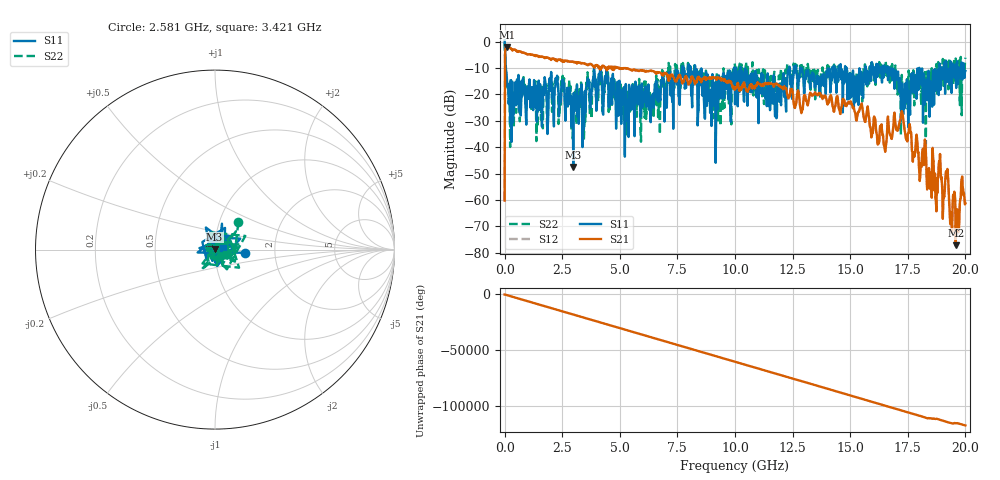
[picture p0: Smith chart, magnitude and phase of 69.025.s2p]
! Created with skrf 1.9.0 (http://scikit-rf.org).
# Hz S RI R 50.0
!freq ReS11 ImS11 ReS21 ImS21 ReS12 ImS12 ReS22 ImS22
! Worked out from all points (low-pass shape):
!   1001 points, 1 MHz to 20 GHz, reference 50 ohm
!   highest |S21| = -2.03 dB at 121 MHz (marker M1); lowest = -77.1 dB at 19.58 GHz (marker M2)
!   |S21| within 3 dB of the highest: 20.84 MHz to 1.178 GHz (1.157 GHz wide, 193 % of centre); 1.184 GHz to 1.214 GHz (29.87 MHz wide, 2.49 % of centre)
!   lowest |S11| = -47.5 dB at 2.981 GHz (marker M3), VSWR 1.01, Z = 49.8 + j0.348 ohm
!   |S11| at or under -10 dB: 56.82 MHz to 7.709 GHz (7.652 GHz wide, 197 % of centre); 8.281 GHz to 9.959 GHz (1.678 GHz wide, 18.4 % of centre); 10.24 GHz to 12.36 GHz (2.115 GHz wide, 18.7 % of centre) (the widest 3 of 43)
!   |S22| runs from -46.2 to -0.2 dB; largest |S21 - S12| = 0.021
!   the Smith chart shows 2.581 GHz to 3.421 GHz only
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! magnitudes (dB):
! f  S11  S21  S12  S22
! 1 MHz  0.4  -60.2  -60.1  -0.2
! 121 MHz  -16.7  -2.0  -2.0  -17.9
! 401 MHz  -27.4  -3.0  -3.0  -32.6
! 2.261 GHz  -15.8  -7.0  -7.0  -13.4
! 2.981 GHz  -47.5  -7.6  -7.6  -22.3
! 3.341 GHz  -16.3  -8.3  -8.3  -19.6
! 4.141 GHz  -11.0  -10.4  -10.2  -11.9
! 5.281 GHz  -21.8  -10.3  -10.3  -18.9
! 6.681 GHz  -22.9  -11.7  -11.6  -27.6
! 7.721 GHz  -9.3  -15.7  -16.0  -10.7
! 9.361 GHz  -21.3  -13.7  -13.8  -30.4
! 10 GHz  -23.7  -17.5  -18.1  -9.0
! 11.82 GHz  -21.7  -16.0  -16.1  -28.4
! 12.6 GHz  -11.6  -25.2  -24.6  -8.5
! 13.34 GHz  -14.1  -20.4  -20.0  -13.9
! 15.26 GHz  -14.5  -29.8  -29.8  -14.5
! 16.68 GHz  -9.7  -33.2  -33.3  -9.5
! 17.24 GHz  -16.8  -26.3  -26.4  -12.6
! 18.44 GHz  -28.5  -52.3  -52.1  -11.6
! 19.2 GHz  -15.3  -51.1  -50.8  -10.5
! 19.58 GHz  -12.4  -77.1  -77.5  -6.4
! 20 GHz  -11.1  -61.3  -60.6  -6.1
